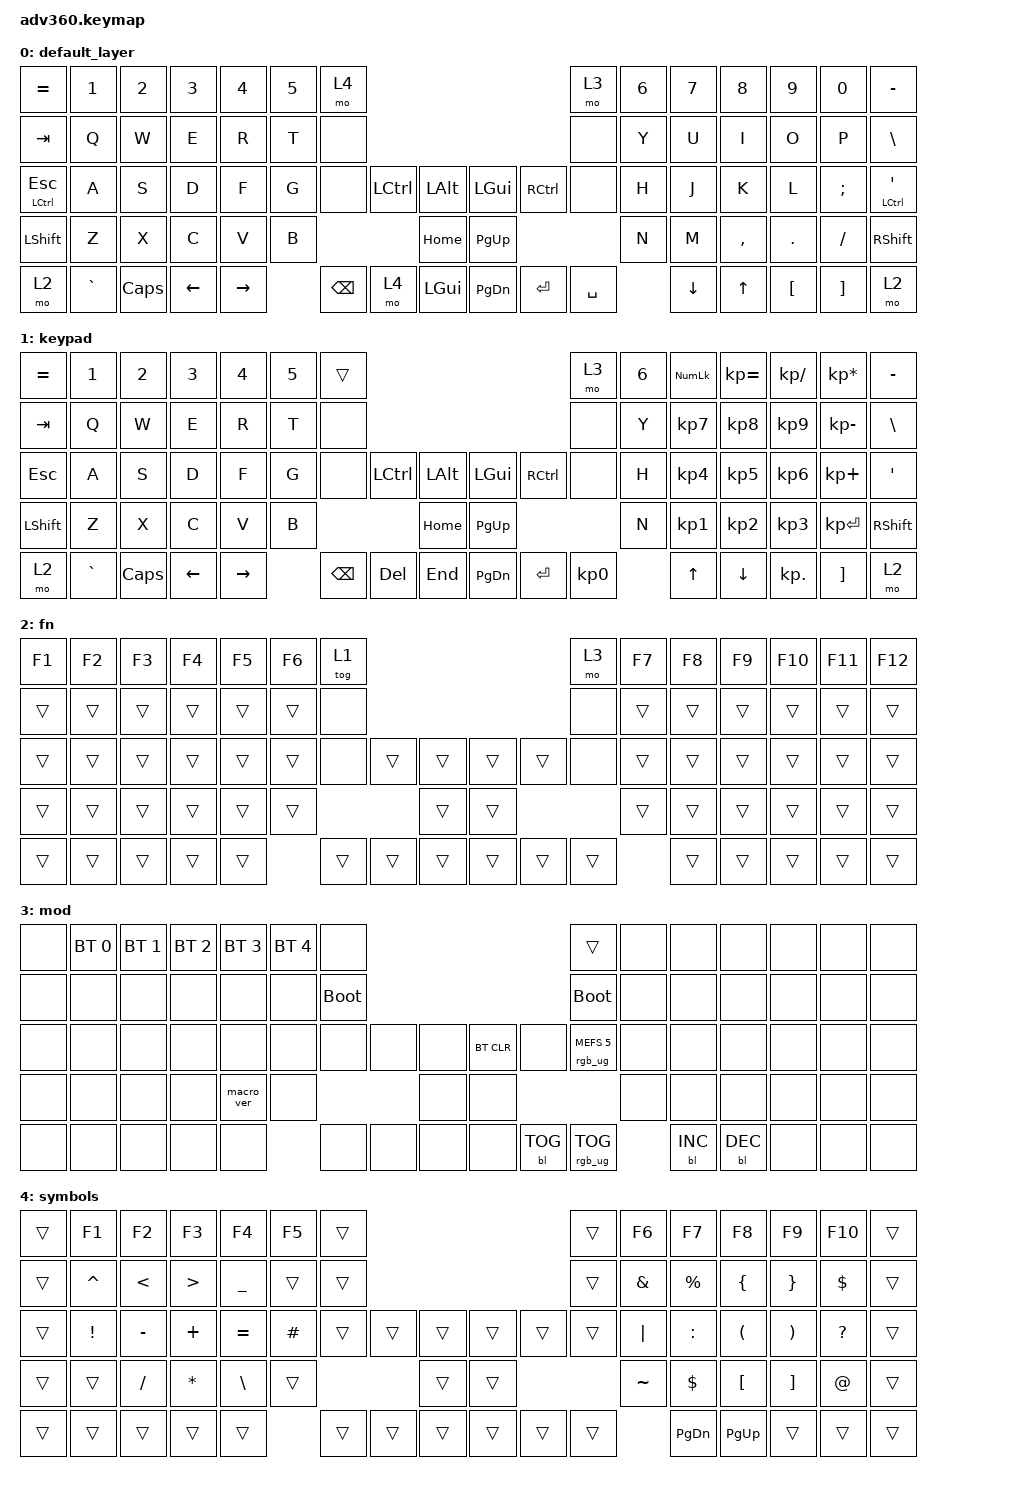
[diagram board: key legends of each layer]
#include <behaviors.dtsi>
#include <dt-bindings/zmk/backlight.h>
#include <dt-bindings/zmk/bt.h>
#include <dt-bindings/zmk/keys.h>
#include <dt-bindings/zmk/rgb.h>

/ {
    behaviors {
        #include "macros.dtsi"
      #include "version.dtsi"
      #ifndef VERSION_MACRO

        macro_ver: macro_ver {
            compatible = "zmk,behavior-macro";
            label = "macro_version";
            #binding-cells = <0>;
            bindings = <&kp RET>;
        };

        #endif

        hm: homerow_mods {
            compatible = "zmk,behavior-hold-tap";
            label = "HOMEROW_MODS";
            #binding-cells = <2>;
            tapping-term-ms = <200>;
            quick_tap_ms = <175>;
            flavor = "tap-preferred";
            bindings = <&kp>, <&kp>;
        };
    };

    macros {
    };

    keymap {
        compatible = "zmk,keymap";

        default_layer {
            bindings = <
&kp EQUAL         &kp N1     &kp N2    &kp N3    &kp N4     &kp N5  &mo 4                                                            &mo 3      &kp N6  &kp N7          &kp N8        &kp N9    &kp N0    &kp MINUS
&kp TAB           &kp Q      &kp W     &kp E     &kp R      &kp T   &none                                                            &none      &kp Y   &kp U           &kp I         &kp O     &kp P     &kp BSLH
&mt LCTRL ESCAPE  &kp A      &kp S     &kp D     &kp F      &kp G   &none     &kp LCTRL  &kp LALT          &kp LGUI       &kp RCTRL  &none      &kp H   &kp J           &kp K         &kp L     &kp SEMI  &mt LCTRL SQT
&kp LSHFT         &kp Z      &kp X     &kp C     &kp V      &kp B                        &kp HOME          &kp PG_UP                            &kp N   &kp M           &kp COMMA     &kp DOT   &kp FSLH  &kp RSHFT
&mo 2             &kp GRAVE  &kp CAPS  &kp LEFT  &kp RIGHT          &kp BSPC  &mo 4      &kp LEFT_GUI      &kp PAGE_DOWN  &kp ENTER  &kp SPACE          &kp DOWN_ARROW  &kp UP_ARROW  &kp LBKT  &kp RBKT  &mo 2
            >;
        };

        keypad {
            bindings = <
&kp EQUAL  &kp N1     &kp N2    &kp N3    &kp N4     &kp N5  &trans                                                   &mo 3      &kp N6  &kp KP_NUM  &kp KP_EQUAL  &kp KP_DIVIDE  &kp KP_MULTIPLY  &kp MINUS
&kp TAB    &kp Q      &kp W     &kp E     &kp R      &kp T   &none                                                    &none      &kp Y   &kp KP_N7   &kp KP_N8     &kp KP_N9      &kp KP_MINUS     &kp BSLH
&kp ESC    &kp A      &kp S     &kp D     &kp F      &kp G   &none     &kp LCTRL  &kp LALT      &kp LGUI   &kp RCTRL  &none      &kp H   &kp KP_N4   &kp KP_N5     &kp KP_N6      &kp KP_PLUS      &kp SQT
&kp LSHFT  &kp Z      &kp X     &kp C     &kp V      &kp B                        &kp HOME      &kp PG_UP                        &kp N   &kp KP_N1   &kp KP_N2     &kp KP_N3      &kp KP_ENTER     &kp RSHFT
&mo 2      &kp GRAVE  &kp CAPS  &kp LEFT  &kp RIGHT          &kp BSPC  &kp DEL    &kp END       &kp PG_DN  &kp ENTER  &kp KP_N0          &kp UP      &kp DOWN      &kp KP_DOT     &kp RBKT         &mo 2
            >;
        };

        fn {
            bindings = <
&kp F1  &kp F2  &kp F3  &kp F4  &kp F5  &kp F6  &tog 1                                      &mo 3   &kp F7  &kp F8  &kp F9  &kp F10  &kp F11  &kp F12
&trans  &trans  &trans  &trans  &trans  &trans  &none                                       &none   &trans  &trans  &trans  &trans   &trans   &trans
&trans  &trans  &trans  &trans  &trans  &trans  &none   &trans  &trans      &trans  &trans  &none   &trans  &trans  &trans  &trans   &trans   &trans
&trans  &trans  &trans  &trans  &trans  &trans                  &trans      &trans                  &trans  &trans  &trans  &trans   &trans   &trans
&trans  &trans  &trans  &trans  &trans          &trans  &trans  &trans      &trans  &trans  &trans          &trans  &trans  &trans   &trans   &trans
            >;
        };

        mod {
            bindings = <
&none  &bt BT_SEL 0  &bt BT_SEL 1  &bt BT_SEL 2  &bt BT_SEL 3  &bt BT_SEL 4  &none                                                  &trans                  &none  &none       &none       &none  &none  &none
&none  &none         &none         &none         &none         &none         &bootloader                                            &bootloader             &none  &none       &none       &none  &none  &none
&none  &none         &none         &none         &none         &none         &none        &none  &none      &bt BT_CLR  &none       &rgb_ug RGB_MEFS_CMD 5  &none  &none       &none       &none  &none  &none
&none  &none         &none         &none         &macro_ver    &none                             &none      &none                                           &none  &none       &none       &none  &none  &none
&none  &none         &none         &none         &none                       &none        &none  &none      &none       &bl BL_TOG  &rgb_ug RGB_TOG                &bl BL_INC  &bl BL_DEC  &none  &none  &none
            >;
        };

        symbols {
            bindings = <
&trans  &kp F1           &kp F2         &kp F3            &kp F4         &kp F5     &trans                                      &trans  &kp F6         &kp F7         &kp F8                &kp F9                 &kp F10       &trans
&trans  &kp CARET        &kp LESS_THAN  &kp GREATER_THAN  &kp UNDER      &trans     &trans                                      &trans  &kp AMPERSAND  &kp PERCENT    &kp LEFT_BRACE        &kp RIGHT_BRACE        &kp DOLLAR    &trans
&trans  &kp EXCLAMATION  &kp MINUS      &kp PLUS          &kp EQUAL      &kp POUND  &trans  &trans  &trans      &trans  &trans  &trans  &kp PIPE       &kp COLON      &kp LEFT_PARENTHESIS  &kp RIGHT_PARENTHESIS  &kp QUESTION  &trans
&trans  &trans           &kp SLASH      &kp ASTRK         &kp BACKSLASH  &trans                     &trans      &trans                  &kp TILDE      &kp DOLLAR     &kp LEFT_BRACKET      &kp RIGHT_BRACKET      &kp AT_SIGN   &trans
&trans  &trans           &trans         &trans            &trans                    &trans  &trans  &trans      &trans  &trans  &trans                 &kp PAGE_DOWN  &kp PAGE_UP           &trans                 &trans        &trans
            >;
        };
    };
};
